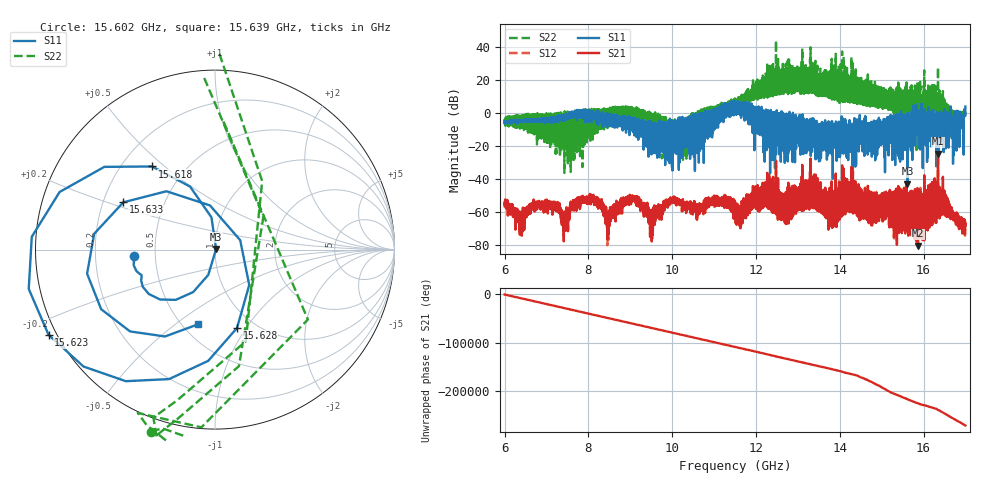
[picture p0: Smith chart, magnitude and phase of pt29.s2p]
#  HZ  S  RI  R  50.00
! Rohde & Schwarz Vector Network Analyzer
! Rohde-Schwarz,ZNA67-2Port,1332450062101215,3.01
! Created: UTC 10/15/2026, 3:29:01 PM
! freq[Hz]  re:S11  im:S11  re:S21  im:S21  re:S12  im:S12  re:S22  im:S22
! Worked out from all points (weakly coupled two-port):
!   11001 points, 6 GHz to 17 GHz, reference 50 ohm
!   highest |S21| = -24.64 dB at 16.346 GHz (marker M1); lowest = -80.6 dB at 15.868 GHz (marker M2)
!   lowest |S11| = -42.9 dB at 15.615 GHz (marker M3), VSWR 1.01, Z = 50.6 + j0.35 ohm
!   |S11| at or under -10 dB: 13.48033 GHz to 13.49702 GHz (16.68 MHz wide, 0.124 % of centre); 13.59823 GHz to 13.62685 GHz (28.62 MHz wide, 0.21 % of centre); 14.15708 GHz to 14.17441 GHz (17.33 MHz wide, 0.122 % of centre) (the widest 3 of 503)
!   |S22| runs from -36.4 to 44.3 dB; largest |S21 - S12| = 0.0053
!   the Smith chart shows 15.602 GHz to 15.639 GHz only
!   S11 on the Smith chart (normalised r, x): 15.602 GHz: 0.38, -0.03; 15.618 GHz: 0.33, +0.45; 15.623 GHz: -0.02, -0.24; 15.628 GHz: 0.83, -0.91; 15.633 GHz: 0.28, +0.22; 15.639 GHz: 0.60, -0.61
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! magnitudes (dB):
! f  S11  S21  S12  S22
! 6 GHz  -5.0  -56.6  -56.8  -3.6
! 7.41 GHz  -1.3  -67.2  -67.2  0.4
! 7.834 GHz  -0.3  -54.1  -53.9  -5.3
! 8.453 GHz  -1.9  -73.1  -73.8  -3.6
! 9.029 GHz  -8.4  -52.7  -52.7  -4.7
! 9.667 GHz  -12.3  -58.7  -59.5  -1.7
! 10.299 GHz  -18.1  -56.7  -57.1  -3.8
! 11.5 GHz  6.9  -62.5  -62.2  6.3
! 13.334 GHz  -8.6  -52.4  -52.6  15.1
! 13.832 GHz  -13.5  -62.4  -62.7  12.4
! 14.166 GHz  -10.1  -59.5  -59.8  7.9
! 15.167 GHz  -9.6  -58.2  -58.2  8.3
! 15.602 GHz  -6.9  -61.5  -61.6  0.6
! 15.615 GHz  -42.9  -60.8  -61.8  0.4
! 15.618 GHz  -4.7  -54.1  -54.5  5.8
! 15.623 GHz  0.4  -66.1  -65.8  -5.4
! 15.628 GHz  -6.9  -59.0  -58.6  3.5
! 15.633 GHz  -4.8  -65.1  -65.8  -0.4
! 15.639 GHz  -7.4  -62.4  -63.0  2.8
! 15.868 GHz  -7.2  -80.6  -81.0  -21.1
! 16.346 GHz  -2.0  -24.6  -25.5  28.0
! 17 GHz  4.0  -67.8  -66.0  0.0
